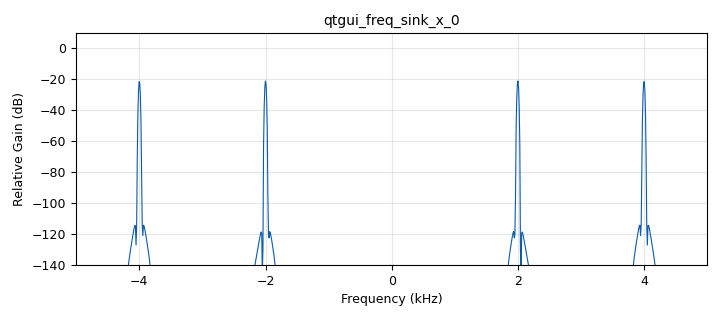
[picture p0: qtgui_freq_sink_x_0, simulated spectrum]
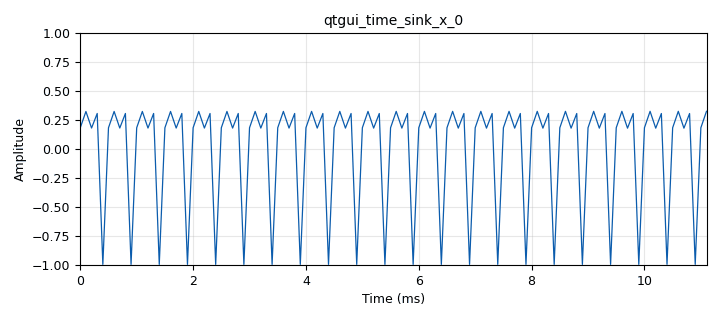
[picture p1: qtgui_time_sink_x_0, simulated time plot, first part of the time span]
options:
  parameters:
    author: labcom
    generate_options: qt_gui
    id: practica1_2_2
    output_language: python
    title: Not titled yet
  states: {}

blocks:
- name: freqA
  id: variable_qtgui_range
  parameters:
    label: frecuencia señal A
    start: 1e3
    step: 1e3
    stop: 350e3
    value: 20e3
  states: {}
- name: freqB
  id: variable_qtgui_range
  parameters:
    label: frecuencia señal B
    start: 1e3
    step: 1e3
    stop: 350e3
    value: 336e3
  states: {}
- name: freqC
  id: variable_qtgui_range
  parameters:
    label: frecuencia señal C
    start: 1e3
    step: 1e3
    stop: 350e3
    value: 178e3
  states: {}
- name: samp_rate
  id: variable_qtgui_range
  parameters:
    label: frecuencia de muestreo
    start: 1e3
    step: 1e3
    stop: 20e6
    value: 10e3
  states: {}
- name: analog_sig_source_x_0
  id: analog_sig_source_x
  parameters:
    amp: '1'
    freq: freqB
    offset: '0'
    phase: '0'
    samp_rate: samp_rate
    type: float
    waveform: analog.GR_COS_WAVE
  states: {}
- name: analog_sig_source_x_1
  id: analog_sig_source_x
  parameters:
    amp: '1'
    freq: freqC
    offset: '0'
    phase: '0'
    samp_rate: samp_rate
    type: float
    waveform: analog.GR_COS_WAVE
  states: {}
- name: analog_sig_source_x_2
  id: analog_sig_source_x
  parameters:
    amp: '1'
    freq: freqA
    offset: '0'
    phase: '0'
    samp_rate: samp_rate
    type: float
    waveform: analog.GR_COS_WAVE
  states: {}
- name: blocks_multiply_xx_0
  id: blocks_multiply_xx
  parameters:
    num_inputs: '3'
    type: float
  states: {}
- name: blocks_throttle_0
  id: blocks_throttle
  parameters:
    samples_per_second: samp_rate
    type: float
  states: {}
- name: qtgui_freq_sink_x_0
  id: qtgui_freq_sink_x
  parameters:
    bw: samp_rate
    fc: '0'
    fftsize: '1024'
    type: float
  states: {}
- name: qtgui_time_sink_x_0
  id: qtgui_time_sink_x
  parameters:
    size: '1024'
    srate: samp_rate
    type: float
  states: {}

connections:
- [analog_sig_source_x_0, '0', blocks_multiply_xx_0, '1']
- [analog_sig_source_x_1, '0', blocks_multiply_xx_0, '2']
- [analog_sig_source_x_2, '0', blocks_multiply_xx_0, '0']
- [blocks_multiply_xx_0, '0', blocks_throttle_0, '0']
- [blocks_throttle_0, '0', qtgui_freq_sink_x_0, '0']
- [blocks_throttle_0, '0', qtgui_time_sink_x_0, '0']

metadata:
  file_format: 1
